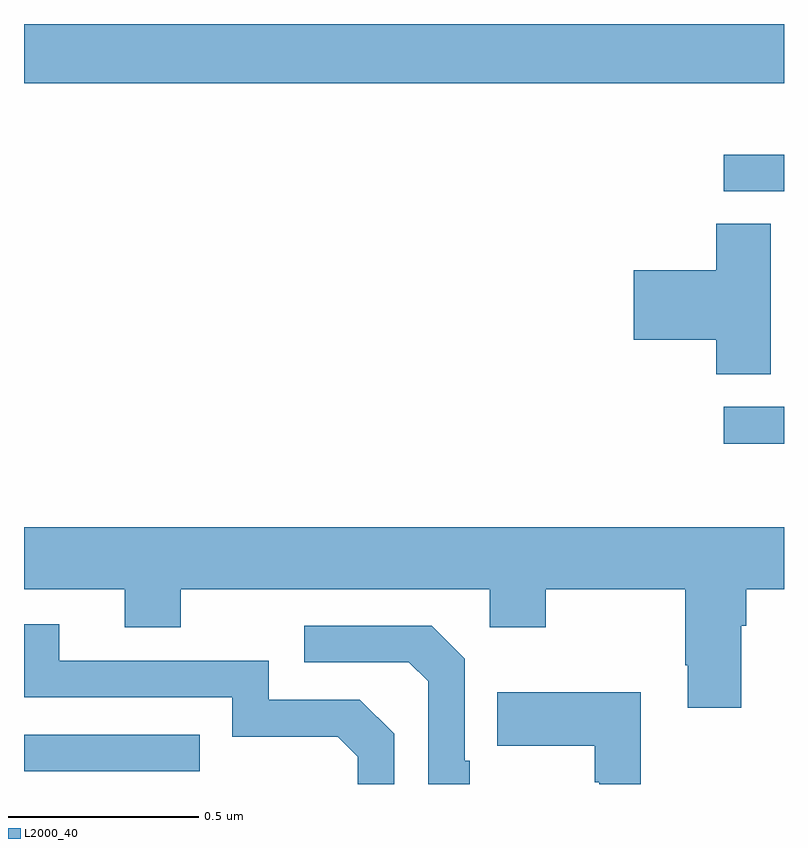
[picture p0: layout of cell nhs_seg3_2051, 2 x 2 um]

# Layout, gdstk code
import gdstk
lib = gdstk.Library(unit=1e-6, precision=1e-09)
def R(c, l, rs):  # rectangles x0, y0, x1, y1
    for r in rs: c.add(gdstk.rectangle(r[:2], r[2:], *l))
def P(c, l, *ps):  # polygons
    for p in ps: c.add(gdstk.Polygon(p, *l))
L2000_40 = (2000, 40)

nhs_seg3_2051 = lib.new_cell('nhs_seg3_2051')
R(nhs_seg3_2051, L2000_40, [(136,704.433,136.463,704.529), (137.841,705.295,138,705.393), (137.841,705.96,138,706.056), (136,706.244,138,706.4)])
P(nhs_seg3_2051, L2000_40, [(137.965,705.875),(137.822,705.875),(137.822,705.752),(137.604,705.752),(137.604,705.569),(137.822,705.569),(137.822,705.478),(137.965,705.478)],
  [(137.887,704.816),(137.9,704.816),(137.9,704.912),(138,704.912),(138,705.076),(136,705.076),(136,704.912),(136.265,704.912),(136.265,704.813),(136.413,704.813),(136.413,704.912),(137.226,704.912),(137.226,704.813),(137.373,704.813),(137.373,704.912),(137.74,704.912),(137.74,704.713),(137.747,704.713),(137.747,704.601),(137.887,704.601)],
  [(136.974,704.532),(136.884,704.622),(136.644,704.622),(136.644,704.724),(136.093,704.724),(136.093,704.82),(136,704.82),(136,704.628),(136.548,704.628),(136.548,704.525),(136.825,704.525),(136.878,704.472),(136.878,704.4),(136.974,704.4)],
  [(137.173,704.461),(137.16,704.461),(137.16,704.73),(137.073,704.817),(136.737,704.817),(136.737,704.721),(137.013,704.721),(137.064,704.67),(137.064,704.4),(137.173,704.4)],
  [(137.623,704.641),(137.245,704.641),(137.245,704.501),(137.502,704.501),(137.502,704.405),(137.514,704.405),(137.514,704.4),(137.623,704.4)])

lib.write_gds('nhs_seg3_2051.gds')
